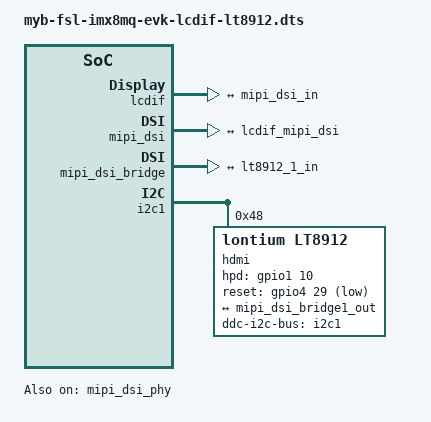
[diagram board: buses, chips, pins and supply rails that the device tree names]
/*
 * Copyright 2017 NXP
 *
 * This program is free software; you can redistribute it and/or
 * modify it under the terms of the GNU General Public License
 * as published by the Free Software Foundation; either version 2
 * of the License, or (at your option) any later version.
 *
 * This program is distributed in the hope that it will be useful,
 * but WITHOUT ANY WARRANTY; without even the implied warranty of
 * MERCHANTABILITY or FITNESS FOR A PARTICULAR PURPOSE.  See the
 * GNU General Public License for more details.
 */

#include "myb-fsl-imx8mq-evk.dts"


/ {
	display-subsystem {
		status = "disabled";
	};
	sound-hdmi {
		status = "disabled";
	};
};

&irqsteer_dcss {
	status = "disabled";
};

&dcss {
	status = "disabled";
};

&hdmi {
	status = "disabled";
};



&lcdif {
	status = "okay";
  max-res = <1920>, <1080>;
	
	port@0 {
		lcdif_mipi_dsi: mipi-dsi-endpoint {
			remote-endpoint = <&mipi_dsi_in>;
		};
	};
};

&mipi_dsi_phy {
	status = "okay";
};

&mipi_dsi {
	status = "okay";
	as_bridge;
	sync-pol = <1>;

  pwr-delay = <20>;
	port@1 {
		mipi_dsi_in: endpoint {
			remote-endpoint = <&lcdif_mipi_dsi>;
		};
	};
};

&mipi_dsi_bridge {
	status = "okay";
	clock-drop-level = <2>;


	port@1 {
		compatible = "lontium,lt8912";
		
		pinctrl-0 = <&pinctrl_mipi_dsi_en>;

		powergpio-gpio = <&gpio4 28 GPIO_ACTIVE_HIGH>;
	

		mipi_dsi_bridge1_out: endpoint {
			remote-endpoint = <&lt8912_1_in>;
		};
	};
};

&iomuxc {
	imx8mq-evk {
		pinctrl_mipi_dsi_en: mipi_dsi_en {
			fsl,pins = <
				MX8MQ_IOMUXC_SAI3_RXFS_GPIO4_IO28 0x16
				
			>;
		};

	};
};

&i2c1 {
	/* MIPI-DSI to HDMI and LVDS adapter */
	hdmi@48 {
		compatible = "lontium,lt8912";
		ddc-i2c-bus = <&i2c1>;
		hpd-gpios = <&gpio1 10 GPIO_ACTIVE_HIGH>;
		pinctrl-names = "default";
		dsi-lanes = <4>;
		reg = <0x48>;
		reset-gpios = <&gpio4 29 GPIO_ACTIVE_LOW>;

	    display-timings {
		    
	         native-mode = <&timing0>;

	         timing0: timing0 {
	             clock-frequency = <148500000>;
	             hactive = <1920>;
	             vactive = <1080>;
	             hfront-porch = <88>;
	             hsync-len = <44>;
	             hback-porch = <148>;
	             vfront-porch = <36>;
	             vsync-len = <5>;
	             vback-porch = <4>;
	             hsync-active = <0>;
	             vsync-active = <0>;
	             de-active = <0>;
	             pixelclk-active = <0>;
	         };
	    };
		port {
			lt8912_1_in: endpoint {
				remote-endpoint = <&mipi_dsi_bridge1_out>;
			};
		};
	};
};


